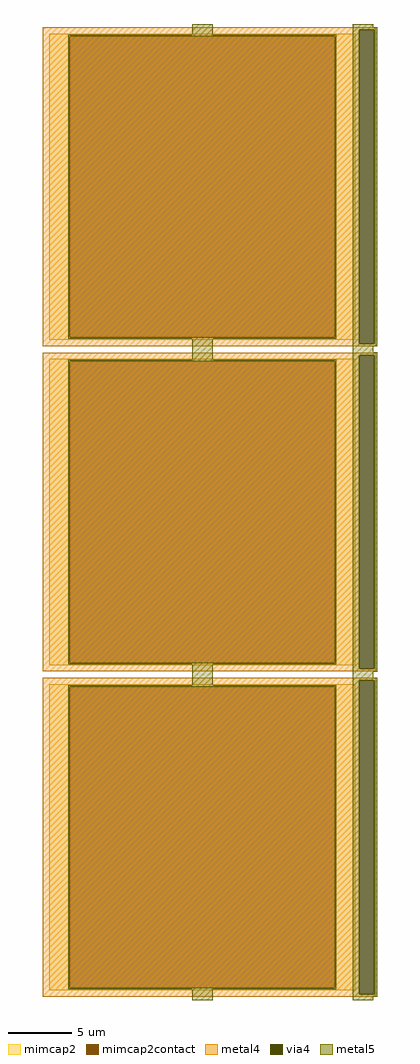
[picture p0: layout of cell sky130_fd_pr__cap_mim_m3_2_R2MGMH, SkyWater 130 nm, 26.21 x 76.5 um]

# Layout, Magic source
magic
tech sky130A
magscale 1 2
<< metal4 >>
rect -2610 7559 2609 7600
rect -2610 2641 2353 7559
rect 2589 2641 2609 7559
rect -2610 2600 2609 2641
rect -2610 2459 2609 2500
rect -2610 -2459 2353 2459
rect 2589 -2459 2609 2459
rect -2610 -2500 2609 -2459
rect -2610 -2641 2609 -2600
rect -2610 -7559 2353 -2641
rect 2589 -7559 2609 -2641
rect -2610 -7600 2609 -7559
<< via4 >>
rect 2353 2641 2589 7559
rect 2353 -2459 2589 2459
rect 2353 -7559 2589 -2641
<< mimcap2 >>
rect -2510 7460 2290 7500
rect -2510 2740 -2187 7460
rect 1967 2740 2290 7460
rect -2510 2700 2290 2740
rect -2510 2360 2290 2400
rect -2510 -2360 -2187 2360
rect 1967 -2360 2290 2360
rect -2510 -2400 2290 -2360
rect -2510 -2740 2290 -2700
rect -2510 -7460 -2187 -2740
rect 1967 -7460 2290 -2740
rect -2510 -7500 2290 -7460
<< mimcap2contact >>
rect -2187 2740 1967 7460
rect -2187 -2360 1967 2360
rect -2187 -7460 1967 -2740
<< metal5 >>
rect -270 7484 50 7650
rect 2250 7601 2570 7650
rect 2250 7559 2631 7601
rect -2211 7460 1991 7484
rect -2211 2740 -2187 7460
rect 1967 2740 1991 7460
rect -2211 2716 1991 2740
rect -270 2384 50 2716
rect 2250 2641 2353 7559
rect 2589 2641 2631 7559
rect 2250 2599 2631 2641
rect 2250 2501 2570 2599
rect 2250 2459 2631 2501
rect -2211 2360 1991 2384
rect -2211 -2360 -2187 2360
rect 1967 -2360 1991 2360
rect -2211 -2384 1991 -2360
rect -270 -2716 50 -2384
rect 2250 -2459 2353 2459
rect 2589 -2459 2631 2459
rect 2250 -2501 2631 -2459
rect 2250 -2599 2570 -2501
rect 2250 -2641 2631 -2599
rect -2211 -2740 1991 -2716
rect -2211 -7460 -2187 -2740
rect 1967 -7460 1991 -2740
rect -2211 -7484 1991 -7460
rect -270 -7650 50 -7484
rect 2250 -7559 2353 -2641
rect 2589 -7559 2631 -2641
rect 2250 -7601 2631 -7559
rect 2250 -7650 2570 -7601
<< properties >>
string gencell sky130_fd_pr__cap_mim_m3_2
string FIXED_BBOX -2610 2600 2390 7600
string parameters w 24.0 l 24.0 val 1.17k carea 2.00 cperi 0.19 nx 1 ny 3 dummy 0 square 0 lmin 2.00 wmin 2.00 lmax 30.0 wmax 30.0 dc 0 bconnect 1 tconnect 1 ccov 88
string library sky130
<< end >>
